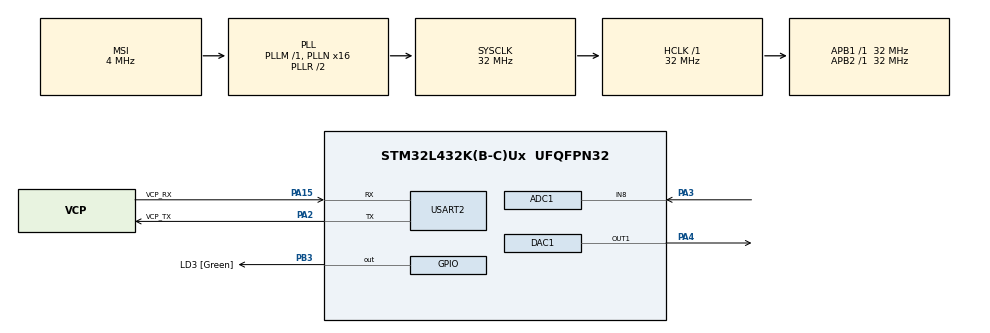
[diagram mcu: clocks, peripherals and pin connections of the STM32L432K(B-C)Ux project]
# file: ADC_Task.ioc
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ADC1.Channel-0\#ChannelRegularConversion=ADC_CHANNEL_8
ADC1.NbrOfConversionFlag=1
ADC1.OffsetNumber-0\#ChannelRegularConversion=ADC_OFFSET_NONE
ADC1.Rank-0\#ChannelRegularConversion=1
ADC1.SamplingTime-0\#ChannelRegularConversion=ADC_SAMPLETIME_2CYCLES_5
ADC1.master=1
Mcu.Family=STM32L4
Mcu.Name=STM32L432K(B-C)Ux
Mcu.Package=UFQFPN32
NVIC.ADC1_IRQn=true\:0\:0\:false\:false\:true\:true\:true\:true
NVIC.PriorityGroup=NVIC_PRIORITYGROUP_4
NVIC.USART2_IRQn=true\:0\:0\:false\:false\:true\:true\:true\:true
PA0.GPIO_Label=MCO [High speed clock in]
PA0.Mode=HSE-External-Clock-Source-for-LittleOrca
PA0.Signal=RCC_CK_IN
PA13\ (JTMS-SWDIO).GPIO_Label=SWDIO
PA13\ (JTMS-SWDIO).Mode=Serial_Wire
PA13\ (JTMS-SWDIO).Signal=SYS_JTMS-SWDIO
PA14\ (JTCK-SWCLK).GPIO_Label=SWCLK
PA14\ (JTCK-SWCLK).Mode=Serial_Wire
PA14\ (JTCK-SWCLK).Signal=SYS_JTCK-SWCLK
PA15\ (JTDI).GPIO_Label=VCP_RX
PA15\ (JTDI).Mode=Asynchronous
PA15\ (JTDI).Signal=USART2_RX
PA2.GPIO_Label=VCP_TX
PA2.Mode=Asynchronous
PA2.Signal=USART2_TX
PA3.Signal=ADCx_IN8
PA4.Signal=COMP_DAC11_group
PB3\ (JTDO-TRACESWO).GPIO_Label=LD3 [Green]
PB3\ (JTDO-TRACESWO).Signal=GPIO_Output
PC14-OSC32_IN\ (PC14).Mode=LSE-External-Oscillator
PC14-OSC32_IN\ (PC14).Signal=RCC_OSC32_IN
PC15-OSC32_OUT\ (PC15).Mode=LSE-External-Oscillator
PC15-OSC32_OUT\ (PC15).Signal=RCC_OSC32_OUT
ProjectManager.HeapSize=0x200
ProjectManager.StackSize=0x400
ProjectManager.TargetToolchain=STM32CubeIDE
RCC.ADCFreq_Value=32000000
RCC.AHBFreq_Value=32000000
RCC.APB1Freq_Value=32000000
RCC.APB1TimFreq_Value=32000000
RCC.APB2Freq_Value=32000000
RCC.APB2TimFreq_Value=32000000
RCC.CortexFreq_Value=32000000
RCC.HCLKFreq_Value=32000000
RCC.HSE_VALUE=8000000
RCC.HSI16_VALUE=16000000
RCC.HSI48_VALUE=48000000
RCC.HSI_VALUE=16000000
RCC.MSI_VALUE=4000000
RCC.PLLMUL=RCC_PLLMUL_4
RCC.PLLN=16
RCC.PLLSAI1N=16
RCC.SYSCLKFreq_VALUE=32000000
RCC.SYSCLKSource=RCC_SYSCLKSOURCE_PLLCLK
RCC.USBFreq_Value=32000000
RCC.VCOOutputFreq_Value=64000000
SH.ADCx_IN8.0=ADC1_IN8,IN8-Single-Ended
SH.COMP_DAC11_group.0=DAC1_OUT1,DAC_OUT1
USART2.VirtualMode-Asynchronous=VM_ASYNC
board=NUCLEO-L432KC

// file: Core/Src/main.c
/* USER CODE BEGIN Header */
/**
  ******************************************************************************
  * @file           : main.c
  * @brief          : Main program body
  ******************************************************************************
  * @attention
  *
  * Copyright (c) 2022 STMicroelectronics.
  * All rights reserved.
  *
  * This software is licensed under terms that can be found in the LICENSE file
  * in the root directory of this software component.
  * If no LICENSE file comes with this software, it is provided AS-IS.
  *
  ******************************************************************************
  */
/* USER CODE END Header */
#include <analog_custom.h>
#include "main.h"

/* USER CODE BEGIN Includes */
#include <string.h>
#include <stdio.h> //for sprintf
#include <math.h> //for calculating the sine wave

/* USER CODE END Includes */

ADC_HandleTypeDef hadc1;

DAC_HandleTypeDef hdac1;

UART_HandleTypeDef huart2;

/* USER CODE BEGIN PV */
//values to generate a sine wave that goes between 0.3V and 3V
#define center 2048
#define amplitudeHalf 1676
#define sineStep 1000

#define dacMaxVal 4095 //to cap the result of sine calculation

#define bufferSize 100 //for uart buffer

uint16_t read = 0;

/* USER CODE END PV */

void SystemClock_Config(void);
static void MX_GPIO_Init(void);
static void MX_USART2_UART_Init(void);
static void MX_DAC1_Init(void);
static void MX_ADC1_Init(void);

/* USER CODE BEGIN 0 */

void drawsineDAC(double x){
	int result = (amplitudeHalf * sin(x) + center); //calculate sine wave

	//make sure that value is not bigger than the allowed value, cap it at the max and min (=0) value
	if(result > dacMaxVal){
		result = dacMaxVal;
	}else if (result < 0){
		result = 0;
	}

	if (_dac_setval(result, &hdac1) != 0) //sets the dac to the result of the sine wave calculation
		Error_Handler();

	char buffer[bufferSize];	//generates buffer for uart
	sprintf(buffer, "%d,", result);	//stores the value of result as text in buffer
	if (HAL_UART_Transmit(&huart2, (uint8_t *)buffer, strlen(buffer), 1000) == HAL_ERROR) //writes the result of sine wave calculation to uart
		Error_Handler();

}

void HAL_ADC_ConvCpltCallback(ADC_HandleTypeDef *hadc){
  HAL_ADC_Stop_IT(hadc); //stop adc once a conversion is completed
}

/* USER CODE END 0 */

int main(void)
{

  /* MCU Configuration--------------------------------------------------------*/

  /* Reset of all peripherals, Initializes the Flash interface and the Systick. */
  HAL_Init();

  /* Configure the system clock */
  SystemClock_Config();

  /* Initialize all configured peripherals */
  MX_GPIO_Init();
  MX_USART2_UART_Init();
  MX_DAC1_Init();
  MX_ADC1_Init();
  /* USER CODE BEGIN 2 */

  double angle=0; //angle variable used for sine wave calculation
  double increment=(2*M_PI)/sineStep; //increment used to calculate the sine wave

  /* USER CODE END 2 */

  /* Infinite loop */
  /* USER CODE BEGIN WHILE */
  while (1)
  {
	  if (_adc_configure(&hadc1) != 0) //starts the adc conversion
		  Error_Handler();

	  drawsineDAC(angle); //outputs voltage via dac according to angle of
	  angle=angle+increment; //angle gets increased by the increment
	  if(angle == sineStep) //if the angle has the the same value as sineStep
		  angle = 0;	//then set angle to 0

	  if (_adc_getval(&read, &hadc1) != 0) //reads the adc value
		  Error_Handler();

	  char buffer[bufferSize]; //uart same as above in drawsineDAC()
	  sprintf(buffer, "%d\n", read);
	  if (HAL_UART_Transmit(&huart2, (uint8_t *)buffer, strlen(buffer), 1000) == HAL_ERROR)
		  Error_Handler();

	  HAL_Delay(10);

    /* USER CODE END WHILE */

  }
}

void SystemClock_Config(void)
{
  RCC_OscInitTypeDef RCC_OscInitStruct = {0};
  RCC_ClkInitTypeDef RCC_ClkInitStruct = {0};

  /** Configure the main internal regulator output voltage
  */
  if (HAL_PWREx_ControlVoltageScaling(PWR_REGULATOR_VOLTAGE_SCALE1) != HAL_OK)
  {
    Error_Handler();
  }

  /** Configure LSE Drive Capability
  */
  HAL_PWR_EnableBkUpAccess();
  __HAL_RCC_LSEDRIVE_CONFIG(RCC_LSEDRIVE_LOW);

  /** Initializes the RCC Oscillators according to the specified parameters
  * in the RCC_OscInitTypeDef structure.
  */
  RCC_OscInitStruct.OscillatorType = RCC_OSCILLATORTYPE_LSE|RCC_OSCILLATORTYPE_MSI;
  RCC_OscInitStruct.LSEState = RCC_LSE_ON;
  RCC_OscInitStruct.MSIState = RCC_MSI_ON;
  RCC_OscInitStruct.MSICalibrationValue = 0;
  RCC_OscInitStruct.MSIClockRange = RCC_MSIRANGE_6;
  RCC_OscInitStruct.PLL.PLLState = RCC_PLL_ON;
  RCC_OscInitStruct.PLL.PLLSource = RCC_PLLSOURCE_MSI;
  RCC_OscInitStruct.PLL.PLLM = 1;
  RCC_OscInitStruct.PLL.PLLN = 16;
  RCC_OscInitStruct.PLL.PLLP = RCC_PLLP_DIV7;
  RCC_OscInitStruct.PLL.PLLQ = RCC_PLLQ_DIV2;
  RCC_OscInitStruct.PLL.PLLR = RCC_PLLR_DIV2;
  if (HAL_RCC_OscConfig(&RCC_OscInitStruct) != HAL_OK)
  {
    Error_Handler();
  }

  /** Initializes the CPU, AHB and APB buses clocks
  */
  RCC_ClkInitStruct.ClockType = RCC_CLOCKTYPE_HCLK|RCC_CLOCKTYPE_SYSCLK
                              |RCC_CLOCKTYPE_PCLK1|RCC_CLOCKTYPE_PCLK2;
  RCC_ClkInitStruct.SYSCLKSource = RCC_SYSCLKSOURCE_PLLCLK;
  RCC_ClkInitStruct.AHBCLKDivider = RCC_SYSCLK_DIV1;
  RCC_ClkInitStruct.APB1CLKDivider = RCC_HCLK_DIV1;
  RCC_ClkInitStruct.APB2CLKDivider = RCC_HCLK_DIV1;

  if (HAL_RCC_ClockConfig(&RCC_ClkInitStruct, FLASH_LATENCY_1) != HAL_OK)
  {
    Error_Handler();
  }

  /** Enable MSI Auto calibration
  */
  HAL_RCCEx_EnableMSIPLLMode();
}

static void MX_ADC1_Init(void)
{

  ADC_ChannelConfTypeDef sConfig = {0};

  /** Common config
  */
  hadc1.Instance = ADC1;
  hadc1.Init.ClockPrescaler = ADC_CLOCK_ASYNC_DIV1;
  hadc1.Init.Resolution = ADC_RESOLUTION_12B;
  hadc1.Init.DataAlign = ADC_DATAALIGN_RIGHT;
  hadc1.Init.ScanConvMode = ADC_SCAN_DISABLE;
  hadc1.Init.EOCSelection = ADC_EOC_SINGLE_CONV;
  hadc1.Init.LowPowerAutoWait = DISABLE;
  hadc1.Init.ContinuousConvMode = DISABLE;
  hadc1.Init.NbrOfConversion = 1;
  hadc1.Init.DiscontinuousConvMode = DISABLE;
  hadc1.Init.ExternalTrigConv = ADC_SOFTWARE_START;
  hadc1.Init.ExternalTrigConvEdge = ADC_EXTERNALTRIGCONVEDGE_NONE;
  hadc1.Init.DMAContinuousRequests = DISABLE;
  hadc1.Init.Overrun = ADC_OVR_DATA_PRESERVED;
  hadc1.Init.OversamplingMode = DISABLE;
  if (HAL_ADC_Init(&hadc1) != HAL_OK)
  {
    Error_Handler();
  }

  /** Configure Regular Channel
  */
  sConfig.Channel = ADC_CHANNEL_8;
  sConfig.Rank = ADC_REGULAR_RANK_1;
  sConfig.SamplingTime = ADC_SAMPLETIME_2CYCLES_5;
  sConfig.SingleDiff = ADC_SINGLE_ENDED;
  sConfig.OffsetNumber = ADC_OFFSET_NONE;
  sConfig.Offset = 0;
  if (HAL_ADC_ConfigChannel(&hadc1, &sConfig) != HAL_OK)
  {
    Error_Handler();
  }

}

static void MX_DAC1_Init(void)
{

  DAC_ChannelConfTypeDef sConfig = {0};

  /** DAC Initialization
  */
  hdac1.Instance = DAC1;
  if (HAL_DAC_Init(&hdac1) != HAL_OK)
  {
    Error_Handler();
  }

  /** DAC channel OUT1 config
  */
  sConfig.DAC_SampleAndHold = DAC_SAMPLEANDHOLD_DISABLE;
  sConfig.DAC_Trigger = DAC_TRIGGER_NONE;
  sConfig.DAC_OutputBuffer = DAC_OUTPUTBUFFER_ENABLE;
  sConfig.DAC_ConnectOnChipPeripheral = DAC_CHIPCONNECT_DISABLE;
  sConfig.DAC_UserTrimming = DAC_TRIMMING_FACTORY;
  if (HAL_DAC_ConfigChannel(&hdac1, &sConfig, DAC_CHANNEL_1) != HAL_OK)
  {
    Error_Handler();
  }

}

static void MX_USART2_UART_Init(void)
{

  huart2.Instance = USART2;
  huart2.Init.BaudRate = 115200;
  huart2.Init.WordLength = UART_WORDLENGTH_8B;
  huart2.Init.StopBits = UART_STOPBITS_1;
  huart2.Init.Parity = UART_PARITY_NONE;
  huart2.Init.Mode = UART_MODE_TX_RX;
  huart2.Init.HwFlowCtl = UART_HWCONTROL_NONE;
  huart2.Init.OverSampling = UART_OVERSAMPLING_16;
  huart2.Init.OneBitSampling = UART_ONE_BIT_SAMPLE_DISABLE;
  huart2.AdvancedInit.AdvFeatureInit = UART_ADVFEATURE_NO_INIT;
  if (HAL_UART_Init(&huart2) != HAL_OK)
  {
    Error_Handler();
  }

}

static void MX_GPIO_Init(void)
{
  GPIO_InitTypeDef GPIO_InitStruct = {0};

  /* GPIO Ports Clock Enable */
  __HAL_RCC_GPIOC_CLK_ENABLE();
  __HAL_RCC_GPIOA_CLK_ENABLE();
  __HAL_RCC_GPIOB_CLK_ENABLE();

  /*Configure GPIO pin Output Level */
  HAL_GPIO_WritePin(LD3_GPIO_Port, LD3_Pin, GPIO_PIN_RESET);

  /*Configure GPIO pin : LD3_Pin */
  GPIO_InitStruct.Pin = LD3_Pin;
  GPIO_InitStruct.Mode = GPIO_MODE_OUTPUT_PP;
  GPIO_InitStruct.Pull = GPIO_NOPULL;
  GPIO_InitStruct.Speed = GPIO_SPEED_FREQ_LOW;
  HAL_GPIO_Init(LD3_GPIO_Port, &GPIO_InitStruct);

}

void Error_Handler(void)
{
  __disable_irq();
  while (1)
  {
  }
}
